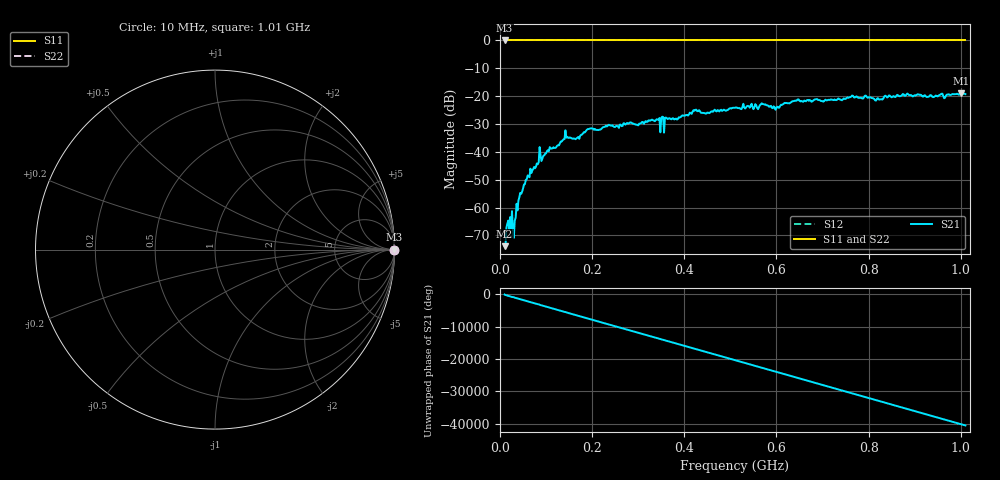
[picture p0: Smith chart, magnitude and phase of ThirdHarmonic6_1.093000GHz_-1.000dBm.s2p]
! 8/16/2025 10:11:36 AM
! C:\ANRITSUVNA\TEMP\TEMP.S2P
! CHANNEL.1
! TR.MEASUREMENT
! RAW.DATA
! RF.CORRECTION.OFF
! AVERAGING.OFF
! IF.BANDWIDTH: 5KHZ
! SWEEPTYPE:  FREQ.SWEEP(Linear)
! Reference Plane Port Info
! PORT:  PORT1  PORT2
! DISTANCE:  0  m  0  m
! TIME:  0  s  0  s
! PHASE.OFFSET:  0  deg.  0  deg.
! LOSS:  0  dB  0  dB
! REF.LOSS:  0  dB  0  dB
! REF.FREQ:  0  Hz  0  Hz
! Power Info
! POWER:  -20  dBm  -20  dBm
! EFF.POWER:  -20  dBm  -20  dBm
! SOURCE.ATTEN:  0  dB  0  dB
! TEST.ATTEN:  0  dB  0  dB
# GHZ S RI R 50.0
! FREQ.GHZ  S11RE  S11IM  S21RE  S21IM  S12RE  S12IM  S22RE  S22IM
!; PortSelection: Port_12
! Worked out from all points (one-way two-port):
!   501 points, 10 MHz to 1.01 GHz, reference 50 ohm
!   highest |S21| = -18.94 dB at 1 GHz (marker M1); lowest = -73.8 dB at 10 MHz (marker M2)
!   lowest |S11| = 0.0 dB at 10 MHz (marker M3)
!   |S11| at or under -10 dB: nowhere
!   |S22| runs from 0.0 to 0.0 dB; largest |S21 - S12| = 1.1
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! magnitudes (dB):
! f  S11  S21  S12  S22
! 10 MHz  0.0  -73.8  0.0  0.0
! 18 MHz  0.0  -64.6  0.0  0.0
! 28 MHz  0.0  -68.1  0.0  0.0
! 32 MHz  0.0  -64.7  0.0  0.0
! 40 MHz  0.0  -57.5  0.0  0.0
! 48 MHz  0.0  -54.3  0.0  0.0
! 84 MHz  0.0  -43.8  0.0  0.0
! 142 MHz  0.0  -32.3  0.0  0.0
! 162 MHz  0.0  -35.3  0.0  0.0
! 178 MHz  0.0  -33.8  0.0  0.0
! 234 MHz  0.0  -30.6  0.0  0.0
! 344 MHz  0.0  -28.4  0.0  0.0
! 422 MHz  0.0  -25.2  0.0  0.0
! 450 MHz  0.0  -25.9  0.0  0.0
! 510 MHz  0.0  -24.2  0.0  0.0
! 572 MHz  0.0  -22.9  0.0  0.0
! 602 MHz  0.0  -23.8  0.0  0.0
! 644 MHz  0.0  -21.6  0.0  0.0
! 678 MHz  0.0  -21.8  0.0  0.0
! 844 MHz  0.0  -19.7  0.0  0.0
! 1 GHz  0.0  -18.9  0.0  0.0
! 1.01 GHz  0.0  -19.2  0.0  0.0
